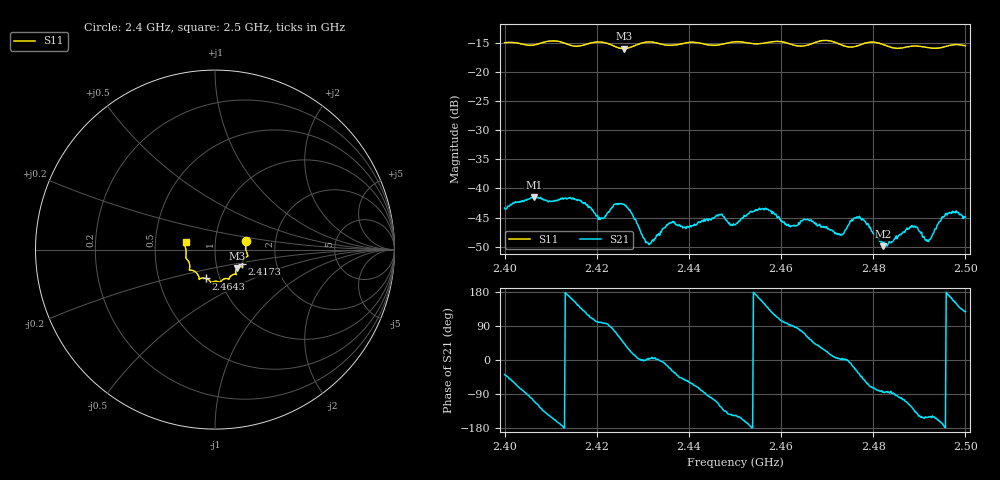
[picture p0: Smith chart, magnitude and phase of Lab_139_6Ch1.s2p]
# Hz S RI R 50
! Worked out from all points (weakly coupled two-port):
!   601 points, 2.4 GHz to 2.5 GHz, reference 50 ohm
!   highest |S21| = -41.52 dB at 2.4063 GHz (marker M1); lowest = -49.9 dB at 2.4822 GHz (marker M2)
!   lowest |S11| = -15.9 dB at 2.4258 GHz (marker M3), VSWR 1.38, Z = 62.3 - j13.3 ohm
!   |S11| at or under -10 dB: start of sweep to end of sweep
!   S12 and S22 are empty: the file has one direction only
!   S11 on the Smith chart (normalised r, x): 2.4 GHz: 1.41, +0.14; 2.4173 GHz: 1.34, -0.23; 2.4643 GHz: 0.86, -0.29; 2.5 GHz: 0.72, +0.06
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2.4e9  0.1732 0.0491  0.00532 -0.0042  0 0  0 0
2.406333e9  0.1721 -0.00225  -0.00261 -0.00798  0 0  0 0
2.416667e9  0.1528 -0.0741  -0.00558 0.00545  0 0  0 0
2.417333e9  0.152 -0.0817  -0.00474 0.00584  0 0  0 0
2.420833e9  0.1545 -0.0972  -0.000877 0.00549  0 0  0 0
2.425833e9  0.1218 -0.1038  0.00515 0.00519  0 0  0 0
2.431e9  0.1189 -0.1388  0.00342 0.000156  0 0  0 0
2.433333e9  0.1128 -0.1374  0.00402 0.000117  0 0  0 0
2.436e9  0.094 -0.1429  0.00471 -0.00195  0 0  0 0
2.446667e9  0.0426 -0.1677  -0.00312 -0.00509  0 0  0 0
2.45e9  0.0288 -0.1813  -0.00407 -0.00264  0 0  0 0
2.455667e9  -0.00427 -0.177  -0.00609 0.00257  0 0  0 0
2.464333e9  -0.0495 -0.1607  0.0012 0.00513  0 0  0 0
2.466667e9  -0.0761 -0.1594  0.00338 0.00395  0 0  0 0
2.473e9  -0.0913 -0.1472  0.00401 8.95e-05  0 0  0 0
2.476833e9  -0.125 -0.116  0.00455 -0.00323  0 0  0 0
2.482167e9  -0.141 -0.1012  0.000349 -0.00317  0 0  0 0
2.483333e9  -0.1405 -0.0898  0.000327 -0.00337  0 0  0 0
2.4885e9  -0.1616 -0.0477  -0.00287 -0.00382  0 0  0 0
2.491833e9  -0.1613 -0.0273  -0.00315 -0.00172  0 0  0 0
2.496167e9  -0.1676 0.021  -0.00606 0.000801  0 0  0 0
2.5e9  -0.1638 0.0428  -0.0035 0.00446  0 0  0 0
